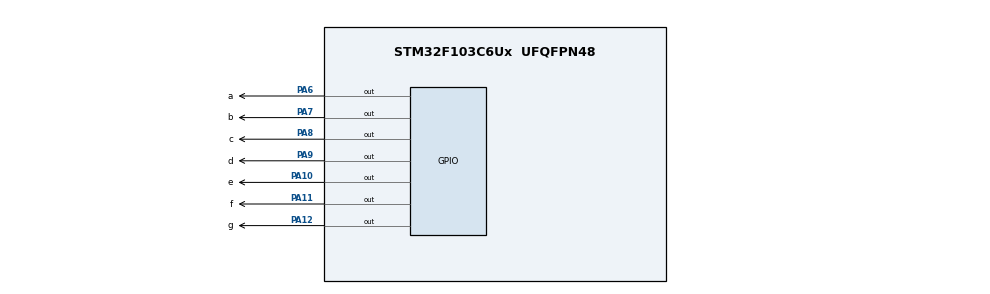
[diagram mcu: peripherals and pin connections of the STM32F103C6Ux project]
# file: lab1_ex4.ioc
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Mcu.Family=STM32F1
Mcu.Name=STM32F103C6Ux
Mcu.Package=UFQFPN48
NVIC.PriorityGroup=NVIC_PRIORITYGROUP_4
PA10.GPIO_Label=e
PA10.Signal=GPIO_Output
PA11.GPIO_Label=f
PA11.Signal=GPIO_Output
PA12.GPIO_Label=g
PA12.Signal=GPIO_Output
PA6.GPIO_Label=a
PA6.Signal=GPIO_Output
PA7.GPIO_Label=b
PA7.Signal=GPIO_Output
PA8.GPIO_Label=c
PA8.Signal=GPIO_Output
PA9.GPIO_Label=d
PA9.Signal=GPIO_Output
ProjectManager.HeapSize=0x200
ProjectManager.StackSize=0x400
ProjectManager.TargetToolchain=STM32CubeIDE
RCC.APB1Freq_Value=8000000
RCC.APB2Freq_Value=8000000
VP_SYS_VS_ND.Mode=No_Debug
board=custom

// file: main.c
/* USER CODE BEGIN Header */
/**
  ******************************************************************************
  * @file           : main.c
  * @brief          : Main program body
  ******************************************************************************
  * @attention
  *
  * <h2><center>&copy; Copyright (c) 2025 STMicroelectronics.
  * All rights reserved.</center></h2>
  *
  * This software component is licensed by ST under BSD 3-Clause license,
  * the "License"; You may not use this file except in compliance with the
  * License. You may obtain a copy of the License at:
  *                        opensource.org/licenses/BSD-3-Clause
  *
  ******************************************************************************
  */
/* USER CODE END Header */
#include "main.h"

void SystemClock_Config(void);
static void MX_GPIO_Init(void);

int main(void)
{

  /* MCU Configuration--------------------------------------------------------*/

  /* Reset of all peripherals, Initializes the Flash interface and the Systick. */
  HAL_Init();

  /* Configure the system clock */
  SystemClock_Config();

  /* Initialize all configured peripherals */
  MX_GPIO_Init();
  /* USER CODE BEGIN 2 */
  void display7SEG(int num) {
   	       switch (num) {
   	       case 0:
   	           HAL_GPIO_WritePin(a_GPIO_Port, a_Pin, GPIO_PIN_RESET);
   	           HAL_GPIO_WritePin(b_GPIO_Port, b_Pin, GPIO_PIN_RESET);
   	           HAL_GPIO_WritePin(c_GPIO_Port, c_Pin, GPIO_PIN_RESET);
   	           HAL_GPIO_WritePin(d_GPIO_Port, d_Pin, GPIO_PIN_RESET);
   	           HAL_GPIO_WritePin(e_GPIO_Port, e_Pin, GPIO_PIN_RESET);
   	           HAL_GPIO_WritePin(f_GPIO_Port, f_Pin, GPIO_PIN_RESET);
   	           HAL_GPIO_WritePin(g_GPIO_Port, g_Pin, GPIO_PIN_SET);
   	           break;
   	       case 1:
   	           HAL_GPIO_WritePin(a_GPIO_Port, a_Pin, GPIO_PIN_SET);
   	           HAL_GPIO_WritePin(b_GPIO_Port, b_Pin, GPIO_PIN_RESET);
   	           HAL_GPIO_WritePin(c_GPIO_Port, c_Pin, GPIO_PIN_RESET);
   	           HAL_GPIO_WritePin(d_GPIO_Port, d_Pin, GPIO_PIN_SET);
   	           HAL_GPIO_WritePin(e_GPIO_Port, e_Pin, GPIO_PIN_SET);
   	           HAL_GPIO_WritePin(f_GPIO_Port, f_Pin, GPIO_PIN_SET);
   	           HAL_GPIO_WritePin(g_GPIO_Port, g_Pin, GPIO_PIN_SET);
   	           break;
   	       case 2:
   	           HAL_GPIO_WritePin(a_GPIO_Port, a_Pin, GPIO_PIN_RESET);
   	           HAL_GPIO_WritePin(b_GPIO_Port, b_Pin, GPIO_PIN_RESET);
   	           HAL_GPIO_WritePin(c_GPIO_Port, c_Pin, GPIO_PIN_SET);
   	           HAL_GPIO_WritePin(d_GPIO_Port, d_Pin, GPIO_PIN_RESET);
   	           HAL_GPIO_WritePin(e_GPIO_Port, e_Pin, GPIO_PIN_RESET);
   	           HAL_GPIO_WritePin(f_GPIO_Port, f_Pin, GPIO_PIN_SET);
   	           HAL_GPIO_WritePin(g_GPIO_Port, g_Pin, GPIO_PIN_RESET);
   	           break;
   	       case 3:
   	           HAL_GPIO_WritePin(a_GPIO_Port, a_Pin, GPIO_PIN_RESET);
   	           HAL_GPIO_WritePin(b_GPIO_Port, b_Pin, GPIO_PIN_RESET);
   	           HAL_GPIO_WritePin(c_GPIO_Port, c_Pin, GPIO_PIN_RESET);
   	           HAL_GPIO_WritePin(d_GPIO_Port, d_Pin, GPIO_PIN_RESET);
   	           HAL_GPIO_WritePin(e_GPIO_Port, e_Pin, GPIO_PIN_SET);
   	           HAL_GPIO_WritePin(f_GPIO_Port, f_Pin, GPIO_PIN_SET);
   	           HAL_GPIO_WritePin(g_GPIO_Port, g_Pin, GPIO_PIN_RESET);
   	           break;
   	       case 4:
   	           HAL_GPIO_WritePin(a_GPIO_Port, a_Pin, GPIO_PIN_SET);
   	           HAL_GPIO_WritePin(b_GPIO_Port, b_Pin, GPIO_PIN_RESET);
   	           HAL_GPIO_WritePin(c_GPIO_Port, c_Pin, GPIO_PIN_RESET);
   	           HAL_GPIO_WritePin(d_GPIO_Port, d_Pin, GPIO_PIN_SET);
   	           HAL_GPIO_WritePin(e_GPIO_Port, e_Pin, GPIO_PIN_SET);
   	           HAL_GPIO_WritePin(f_GPIO_Port, f_Pin, GPIO_PIN_RESET);
   	           HAL_GPIO_WritePin(g_GPIO_Port, g_Pin, GPIO_PIN_RESET);
   	           break;
   	       case 5:
   	           HAL_GPIO_WritePin(a_GPIO_Port, a_Pin, GPIO_PIN_RESET);
   	           HAL_GPIO_WritePin(b_GPIO_Port, b_Pin, GPIO_PIN_SET);
   	           HAL_GPIO_WritePin(c_GPIO_Port, c_Pin, GPIO_PIN_RESET);
   	           HAL_GPIO_WritePin(d_GPIO_Port, d_Pin, GPIO_PIN_RESET);
   	           HAL_GPIO_WritePin(e_GPIO_Port, e_Pin, GPIO_PIN_SET);
   	           HAL_GPIO_WritePin(f_GPIO_Port, f_Pin, GPIO_PIN_RESET);
   	           HAL_GPIO_WritePin(g_GPIO_Port, g_Pin, GPIO_PIN_RESET);
   	           break;
   	       case 6:
   	           HAL_GPIO_WritePin(a_GPIO_Port, a_Pin, GPIO_PIN_RESET);
   	           HAL_GPIO_WritePin(b_GPIO_Port, b_Pin, GPIO_PIN_SET);
   	           HAL_GPIO_WritePin(c_GPIO_Port, c_Pin, GPIO_PIN_RESET);
   	           HAL_GPIO_WritePin(d_GPIO_Port, d_Pin, GPIO_PIN_RESET);
   	           HAL_GPIO_WritePin(e_GPIO_Port, e_Pin, GPIO_PIN_RESET);
   	           HAL_GPIO_WritePin(f_GPIO_Port, f_Pin, GPIO_PIN_RESET);
   	           HAL_GPIO_WritePin(g_GPIO_Port, g_Pin, GPIO_PIN_RESET);
   	           break;
   	       case 7:
   	           HAL_GPIO_WritePin(a_GPIO_Port, a_Pin, GPIO_PIN_RESET);
   	           HAL_GPIO_WritePin(b_GPIO_Port, b_Pin, GPIO_PIN_RESET);
   	           HAL_GPIO_WritePin(c_GPIO_Port, c_Pin, GPIO_PIN_RESET);
   	           HAL_GPIO_WritePin(d_GPIO_Port, d_Pin, GPIO_PIN_SET);
   	           HAL_GPIO_WritePin(e_GPIO_Port, e_Pin, GPIO_PIN_SET);
   	           HAL_GPIO_WritePin(f_GPIO_Port, f_Pin, GPIO_PIN_SET);
   	           HAL_GPIO_WritePin(g_GPIO_Port, g_Pin, GPIO_PIN_SET);
   	           break;
   	       case 8:
   	           HAL_GPIO_WritePin(a_GPIO_Port, a_Pin, GPIO_PIN_RESET);
   	           HAL_GPIO_WritePin(b_GPIO_Port, b_Pin, GPIO_PIN_RESET);
   	           HAL_GPIO_WritePin(c_GPIO_Port, c_Pin, GPIO_PIN_RESET);
   	           HAL_GPIO_WritePin(d_GPIO_Port, d_Pin, GPIO_PIN_RESET);
   	           HAL_GPIO_WritePin(e_GPIO_Port, e_Pin, GPIO_PIN_RESET);
   	           HAL_GPIO_WritePin(f_GPIO_Port, f_Pin, GPIO_PIN_RESET);
   	           HAL_GPIO_WritePin(g_GPIO_Port, g_Pin, GPIO_PIN_RESET);
   	           break;
   	       case 9:
   	           HAL_GPIO_WritePin(a_GPIO_Port, a_Pin, GPIO_PIN_RESET);
   	           HAL_GPIO_WritePin(b_GPIO_Port, b_Pin, GPIO_PIN_RESET);
   	           HAL_GPIO_WritePin(c_GPIO_Port, c_Pin, GPIO_PIN_RESET);
   	           HAL_GPIO_WritePin(d_GPIO_Port, d_Pin, GPIO_PIN_RESET);
   	           HAL_GPIO_WritePin(e_GPIO_Port, e_Pin, GPIO_PIN_SET);
   	           HAL_GPIO_WritePin(f_GPIO_Port, f_Pin, GPIO_PIN_RESET);
   	           HAL_GPIO_WritePin(g_GPIO_Port, g_Pin, GPIO_PIN_RESET);
   	           break;
   	       default:
   	           HAL_GPIO_WritePin(a_GPIO_Port, a_Pin, GPIO_PIN_SET);
   	           HAL_GPIO_WritePin(b_GPIO_Port, b_Pin, GPIO_PIN_SET);
   	           HAL_GPIO_WritePin(c_GPIO_Port, c_Pin, GPIO_PIN_SET);
   	           HAL_GPIO_WritePin(d_GPIO_Port, d_Pin, GPIO_PIN_SET);
   	           HAL_GPIO_WritePin(e_GPIO_Port, e_Pin, GPIO_PIN_SET);
   	           HAL_GPIO_WritePin(f_GPIO_Port, f_Pin, GPIO_PIN_SET);
   	           HAL_GPIO_WritePin(g_GPIO_Port, g_Pin, GPIO_PIN_SET);
   	           break;
   	       }
   	  }

  /* USER CODE END 2 */

  /* Infinite loop */
  /* USER CODE BEGIN WHILE */
  int count = 0;
  while (1)
  {
    /* USER CODE END WHILE */
if (count > 9) count = 0;
display7SEG(count++);
HAL_Delay(1000);
  }
}

void SystemClock_Config(void)
{
  RCC_OscInitTypeDef RCC_OscInitStruct = {0};
  RCC_ClkInitTypeDef RCC_ClkInitStruct = {0};

  /** Initializes the RCC Oscillators according to the specified parameters
  * in the RCC_OscInitTypeDef structure.
  */
  RCC_OscInitStruct.OscillatorType = RCC_OSCILLATORTYPE_HSI;
  RCC_OscInitStruct.HSIState = RCC_HSI_ON;
  RCC_OscInitStruct.HSICalibrationValue = RCC_HSICALIBRATION_DEFAULT;
  RCC_OscInitStruct.PLL.PLLState = RCC_PLL_NONE;
  if (HAL_RCC_OscConfig(&RCC_OscInitStruct) != HAL_OK)
  {
    Error_Handler();
  }
  /** Initializes the CPU, AHB and APB buses clocks
  */
  RCC_ClkInitStruct.ClockType = RCC_CLOCKTYPE_HCLK|RCC_CLOCKTYPE_SYSCLK
                              |RCC_CLOCKTYPE_PCLK1|RCC_CLOCKTYPE_PCLK2;
  RCC_ClkInitStruct.SYSCLKSource = RCC_SYSCLKSOURCE_HSI;
  RCC_ClkInitStruct.AHBCLKDivider = RCC_SYSCLK_DIV1;
  RCC_ClkInitStruct.APB1CLKDivider = RCC_HCLK_DIV1;
  RCC_ClkInitStruct.APB2CLKDivider = RCC_HCLK_DIV1;

  if (HAL_RCC_ClockConfig(&RCC_ClkInitStruct, FLASH_LATENCY_0) != HAL_OK)
  {
    Error_Handler();
  }
}

static void MX_GPIO_Init(void)
{
  GPIO_InitTypeDef GPIO_InitStruct = {0};

  /* GPIO Ports Clock Enable */
  __HAL_RCC_GPIOA_CLK_ENABLE();

  /*Configure GPIO pin Output Level */
  HAL_GPIO_WritePin(GPIOA, a_Pin|b_Pin|c_Pin|d_Pin
                          |e_Pin|f_Pin|g_Pin, GPIO_PIN_RESET);

  /*Configure GPIO pins : a_Pin b_Pin c_Pin d_Pin
                           e_Pin f_Pin g_Pin */
  GPIO_InitStruct.Pin = a_Pin|b_Pin|c_Pin|d_Pin
                          |e_Pin|f_Pin|g_Pin;
  GPIO_InitStruct.Mode = GPIO_MODE_OUTPUT_PP;
  GPIO_InitStruct.Pull = GPIO_NOPULL;
  GPIO_InitStruct.Speed = GPIO_SPEED_FREQ_LOW;
  HAL_GPIO_Init(GPIOA, &GPIO_InitStruct);

}

void Error_Handler(void)
{
  __disable_irq();
  while (1)
  {
  }
}

/************************ (C) COPYRIGHT STMicroelectronics *****END OF FILE****/
